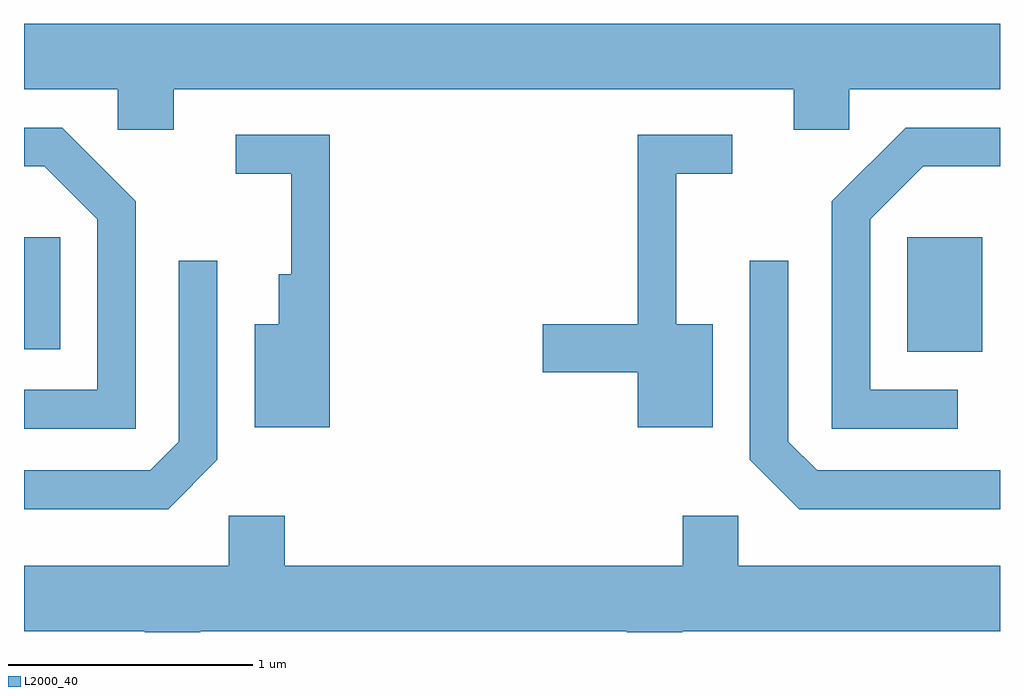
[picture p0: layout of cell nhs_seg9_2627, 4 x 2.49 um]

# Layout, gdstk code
import gdstk
lib = gdstk.Library(unit=1e-6, precision=1e-09)
def R(c, l, rs):  # rectangles x0, y0, x1, y1
    for r in rs: c.add(gdstk.rectangle(r[:2], r[2:], *l))
def P(c, l, *ps):  # polygons
    for p in ps: c.add(gdstk.Polygon(p, *l))
L2000_40 = (2000, 40)

nhs_seg9_2627 = lib.new_cell('nhs_seg9_2627')
R(nhs_seg9_2627, L2000_40, [(265.231,2039.581,265.539,2040.049), (261.611,2039.591,261.759,2040.049)])
P(nhs_seg9_2627, L2000_40, [(262.224,2040.656),(264.766,2040.656),(264.766,2040.491),(264.994,2040.491),(264.994,2040.656),(265.611,2040.656),(265.611,2040.924),(261.611,2040.924),(261.611,2040.656),(261.996,2040.656),(261.996,2040.491),(262.224,2040.491)],
  [(265.438,2039.424),(265.079,2039.424),(265.079,2040.124),(265.297,2040.341),(265.611,2040.341),(265.611,2040.499),(265.224,2040.499),(264.921,2040.197),(264.921,2039.266),(265.438,2039.266)],
  [(262.069,2040.197),(261.767,2040.499),(261.611,2040.499),(261.611,2040.341),(261.694,2040.341),(261.911,2040.124),(261.911,2039.424),(261.611,2039.424),(261.611,2039.266),(262.069,2039.266)],
  [(262.864,2040.469),(262.478,2040.469),(262.478,2040.311),(262.706,2040.311),(262.706,2039.899),(262.656,2039.899),(262.656,2039.694),(262.556,2039.694),(262.556,2039.271),(262.864,2039.271)],
  [(264.434,2039.694),(264.284,2039.694),(264.284,2040.311),(264.513,2040.311),(264.513,2040.469),(264.126,2040.469),(264.126,2039.694),(263.736,2039.694),(263.736,2039.496),(264.126,2039.496),(264.126,2039.271),(264.434,2039.271)],
  [(262.404,2039.139),(262.404,2039.953),(262.246,2039.953),(262.246,2039.212),(262.129,2039.094),(261.611,2039.094),(261.611,2038.936),(262.202,2038.936)],
  [(265.611,2039.094),(264.862,2039.094),(264.744,2039.212),(264.744,2039.953),(264.586,2039.953),(264.586,2039.139),(264.789,2038.936),(265.611,2038.936)],
  [(262.334,2038.436),(264.081,2038.436),(264.081,2038.432),(264.309,2038.432),(264.309,2038.436),(265.611,2038.436),(265.611,2038.704),(264.539,2038.704),(264.539,2038.909),(264.311,2038.909),(264.311,2038.704),(262.679,2038.704),(262.679,2038.909),(262.451,2038.909),(262.451,2038.704),(261.611,2038.704),(261.611,2038.436),(262.106,2038.436),(262.106,2038.432),(262.334,2038.432)])

lib.write_gds('nhs_seg9_2627.gds')
